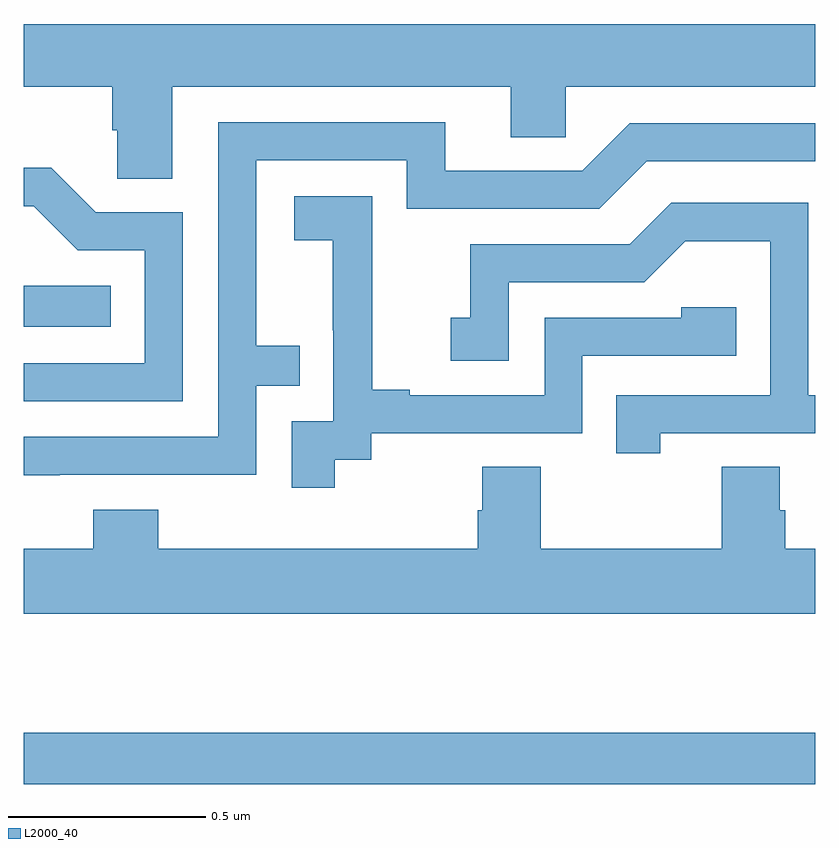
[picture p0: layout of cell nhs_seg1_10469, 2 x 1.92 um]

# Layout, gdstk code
import gdstk
lib = gdstk.Library(unit=1e-6, precision=1e-09)
def R(c, l, rs):  # rectangles x0, y0, x1, y1
    for r in rs: c.add(gdstk.rectangle(r[:2], r[2:], *l))
def P(c, l, *ps):  # polygons
    for p in ps: c.add(gdstk.Polygon(p, *l))
L2000_40 = (2000, 40)

nhs_seg1_10469 = lib.new_cell('nhs_seg1_10469')
R(nhs_seg1_10469, L2000_40, [(241,575.278,243,575.407), (241,576.434,241.22,576.538)])
P(nhs_seg1_10469, L2000_40, [(242.37,577.04),(243,577.04),(243,577.199),(241,577.199),(241,577.04),(241.223,577.04),(241.223,576.931),(241.236,576.931),(241.236,576.808),(241.375,576.808),(241.375,577.04),(242.231,577.04),(242.231,576.913),(242.37,576.913)],
  [(241.091,576.06),(241.587,576.06),(241.587,576.285),(241.697,576.285),(241.697,576.386),(241.587,576.386),(241.587,576.855),(241.968,576.855),(241.968,576.732),(242.454,576.732),(242.574,576.852),(243,576.852),(243,576.948),(242.532,576.948),(242.412,576.828),(242.065,576.828),(242.065,576.951),(241.491,576.951),(241.491,576.156),(241,576.156),(241,576.059),(241.091,576.059)],
  [(241.401,576.723),(241.182,576.723),(241.069,576.836),(241,576.836),(241,576.738),(241.025,576.738),(241.136,576.627),(241.305,576.627),(241.305,576.342),(241,576.342),(241,576.246),(241.401,576.246)],
  [(241.786,576.097),(241.878,576.097),(241.878,576.165),(242.412,576.165),(242.412,576.36),(242.801,576.36),(242.801,576.483),(242.661,576.483),(242.661,576.456),(242.316,576.456),(242.316,576.261),(241.975,576.261),(241.975,576.274),(241.88,576.274),(241.88,576.557),(241.881,576.557),(241.881,576.763),(241.683,576.763),(241.683,576.653),(241.781,576.653),(241.781,576.425),(241.782,576.425),(241.782,576.195),(241.677,576.195),(241.677,576.027),(241.786,576.027)],
  [(242.608,576.165),(243,576.165),(243,576.261),(242.982,576.261),(242.982,576.747),(242.636,576.747),(242.531,576.642),(242.128,576.642),(242.128,576.457),(242.079,576.457),(242.079,576.348),(242.226,576.348),(242.226,576.546),(242.568,576.546),(242.672,576.65),(242.886,576.65),(242.886,576.261),(242.497,576.261),(242.497,576.114),(242.608,576.114)],
  [(243,575.872),(242.924,575.872),(242.924,575.97),(242.911,575.97),(242.911,576.08),(242.764,576.08),(242.764,575.872),(242.307,575.872),(242.307,576.08),(242.159,576.08),(242.159,575.97),(242.147,575.97),(242.147,575.872),(241.34,575.872),(241.34,575.971),(241.175,575.971),(241.175,575.872),(241,575.872),(241,575.708),(243,575.708)])

lib.write_gds('nhs_seg1_10469.gds')
